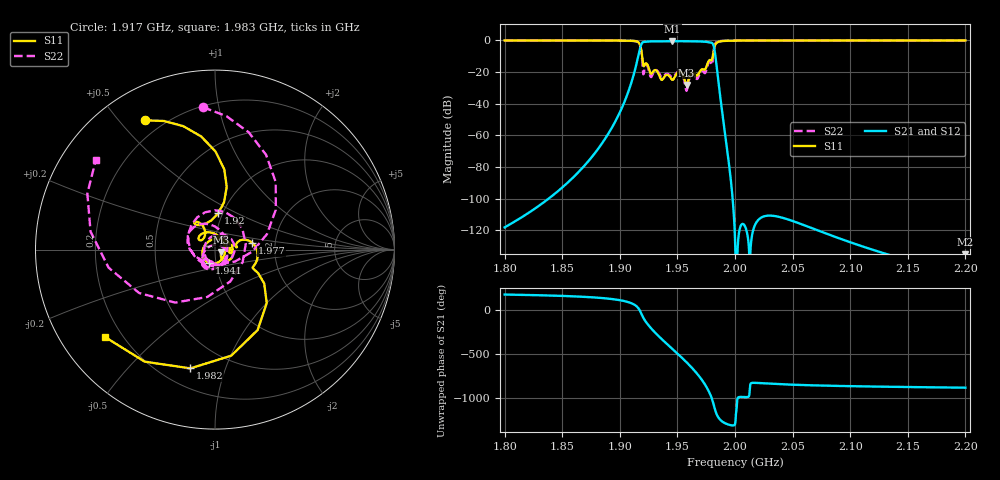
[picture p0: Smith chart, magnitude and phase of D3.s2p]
! Touchstone file exported from HFSS 2023.1.0
!  File:  E:/1.Project/CoxailF/seventhree.aedt
!  Generated:  8:53:49 %x4E0B%x5348  5%x6708 24, 2023
!  Design:  Resonator_out5
!  Project:  seventhree
!  Setup:  Setup1
!  Solution:  Sweep
! Variables:
!  Hin1 = 26mm
!  Hout = 29mm
!  L12 = 15mm
!  L13 = 14.5mm
!  L23 = 6.9mm
!  L34 = 12.5mm
!  L45 = 7.7mm
!  L46 = 2mm
!  L56 = 8mm
!  L67 = 12.5mm
!  L78 = 9.2mm
!  L79 = 9.6mm
!  L89 = 16mm
!  Rin = 5mm
!  Rin2 = 4mm
!  Rout = 15mm
!  Rport = 1.15mm
!  Rport2 = 3mm
!  Rportin = 0.5mm
!  d = 3mm
!  d01 = 2.87mm
!  d02 = 3.47mm
!  d03 = 3.64mm
!  d04 = 3.7mm
!  d05 = 3.7mm
!  d06 = 3.69mm
!  d07 = 3.65mm
!  d08 = 3.54mm
!  d09 = 2.89mm
!  d12 = 18mm
!  d12x = 15.5mm
!  d12y = 25mm
!  d23 = 18mm
!  d34 = 30mm
!  hport = 10.4mm
!  hport2 = 10.4mm
!  lport = 12mm
!  lport2 = 1mm
!  lport_2 = 12mm
!  m = 2mm
!  w12 = 12mm
!  w13 = 10mm
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# GHz S MA R 50.000000
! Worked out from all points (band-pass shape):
!   1001 points, 1.8 GHz to 2.2 GHz, reference 50 ohm
!   highest |S21| = -0.45 dB at 1.946 GHz (marker M1); lowest = -148.1 dB at 2.2 GHz (marker M2)
!   |S21| within 3 dB of the highest: 1.918 GHz to 1.981 GHz (63.28 MHz wide, 3.25 % of centre)
!   lowest |S11| = -28.1 dB at 1.958 GHz (marker M3), VSWR 1.08, Z = 53.7 - j1.72 ohm
!   |S11| at or under -10 dB: 1.919 GHz to 1.981 GHz (61.32 MHz wide, 3.14 % of centre)
!   |S22| runs from -31.8 to 0.0 dB; largest |S21 - S12| = 2e-12
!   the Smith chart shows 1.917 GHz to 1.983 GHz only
!   S11 on the Smith chart (normalised r, x): 1.917 GHz: 0.13, +0.59; 1.92 GHz: 0.95, +0.40; 1.941 GHz: 0.92, -0.14; 1.977 GHz: 1.52, +0.12; 1.982 GHz: 0.31, -0.76; 1.983 GHz: 0.14, -0.34
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1.8  0.9985 -89.8  1.241e-06 179.4  1.241e-06 179.4  0.9985 -89.8
! Gamma 0.0540732695286148 37.7798358605328 0.0537783412881189 37.779469028817
! Port Impedance 50 0 50 0
1.8668  0.9963 -113.8  8.778e-05 154.7  8.778e-05 154.7  0.9963 -114.1
1.9084  0.9806 -175.6  0.0305 88.3  0.0305 88.3  0.9777 179.2
1.9168  0.8196 118.6  0.4285 9.8  0.4285 9.8  0.7967 94.8
1.92  0.2033 84.8  0.878 -75.9  0.878 -75.9  0.1297 -31.0
1.926  0.1061 121.1  0.9307 171.0  0.9307 171.0  0.08633 48.1
1.9336  0.08862 91.3  0.9425 65.0  0.9425 65.0  0.09739 -136.6
1.9408  0.082 -114.6  0.947 -24.5  0.947 -24.5  0.08805 -114.1
1.9456  0.05746 124.2  0.949 -82.2  0.949 -82.2  0.06872 -107.6
1.9524  0.1035 -25.5  0.945 -164.6  0.945 -164.6  0.1032 -122.2
1.958  0.0394 -23.9  0.9468 124.2  0.9468 124.2  0.02558 89.2
1.9668  0.07678 -3.5  0.9356 -1.2  0.9356 -1.2  0.0606 -178.3
1.972  0.1227 6.0  0.9196 -90.7  0.9196 -90.7  0.1084 -6.7
1.9768  0.2119 10.2  0.8818 164.4  0.8818 164.4  0.1909 132.9
1.9824  0.6758 -101.7  0.4575 -44.5  0.4575 -44.5  0.7004 171.8
1.9832  0.7828 -141.5  0.2802 -79.1  0.2802 -79.1  0.8315 142.9
1.988  0.9447 89.9  0.009642 177.0  0.009642 177.0  0.9646 66.7
1.9948  0.9797 34.9  0.000122 130.4  0.000122 130.4  0.9837 28.0
2  0.9873 15.0  5.48e-07 135.8  5.48e-07 135.8  0.9889 11.5
2.0668  0.9983 -48.9  1.171e-06 -138.6  1.171e-06 -138.6  0.9984 -49.0
2.1336  0.999 -65.6  1.687e-07 -155.4  1.687e-07 -155.4  0.999 -65.6
2.2  0.999 -75.7  3.933e-08 -165.6  3.933e-08 -165.6  0.999 -75.8
